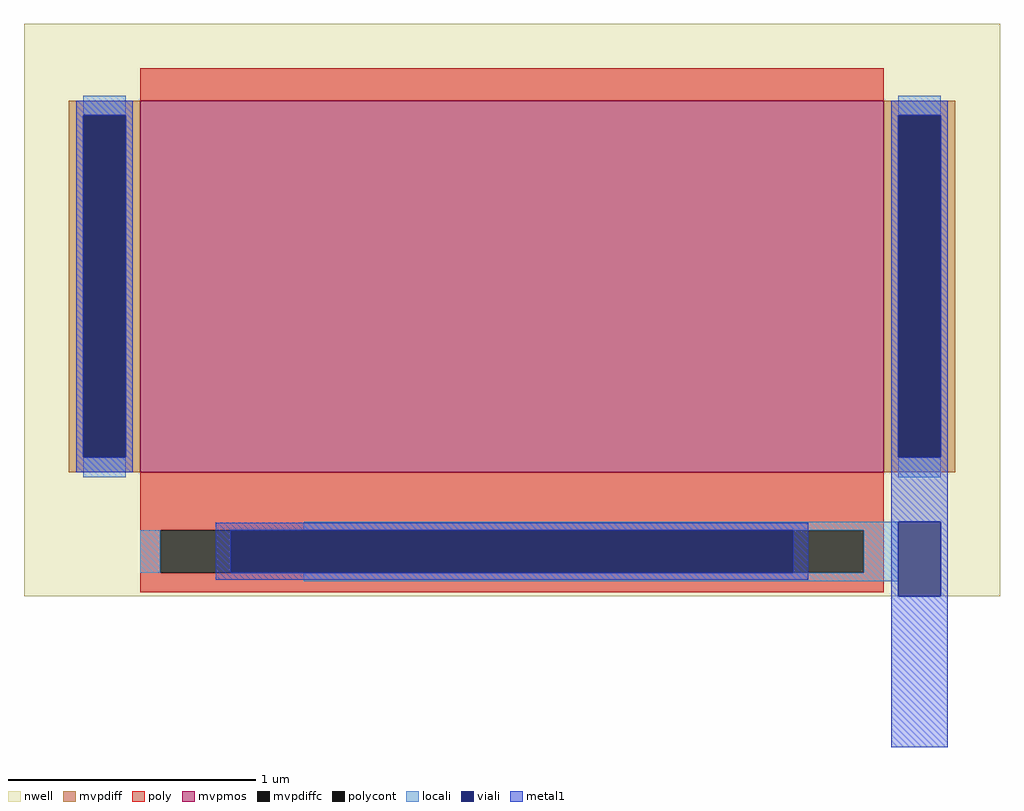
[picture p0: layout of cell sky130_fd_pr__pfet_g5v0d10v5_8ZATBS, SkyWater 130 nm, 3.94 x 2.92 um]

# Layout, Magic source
magic
tech sky130A
magscale 1 2
<< nwell >>
rect -394 -214 394 248
<< mvpmos >>
rect -300 -114 300 186
<< mvpdiff >>
rect -358 174 -300 186
rect -358 -102 -346 174
rect -312 -102 -300 174
rect -358 -114 -300 -102
rect 300 174 358 186
rect 300 -102 312 174
rect 346 -102 358 174
rect 300 -114 358 -102
<< mvpdiffc >>
rect -346 -102 -312 174
rect 312 -102 346 174
<< poly >>
rect -300 186 300 212
rect -300 -161 300 -114
rect -300 -195 -284 -161
rect 284 -195 300 -161
rect -300 -211 300 -195
<< polycont >>
rect -284 -195 284 -161
<< locali >>
rect -346 174 -312 190
rect -346 -118 -312 -102
rect 312 174 346 190
rect 312 -118 346 -102
rect -168 -161 312 -154
rect -300 -195 -284 -161
rect 284 -195 312 -161
rect -168 -202 312 -195
<< viali >>
rect -346 -102 -312 174
rect 312 -102 346 174
rect -227 -195 227 -161
rect 312 -214 346 -154
<< metal1 >>
rect -352 174 -306 186
rect -352 -102 -346 174
rect -312 -102 -306 174
rect -352 -114 -306 -102
rect 306 174 352 186
rect 306 -102 312 174
rect 346 -102 352 174
rect 306 -154 352 -102
rect -239 -161 239 -155
rect -239 -195 -227 -161
rect 227 -195 239 -161
rect -239 -201 239 -195
rect 306 -214 312 -154
rect 346 -214 352 -154
rect 306 -336 352 -214
<< properties >>
string gencell sky130_fd_pr__pfet_g5v0d10v5
string library sky130
string parameters w 1.5 l 3 m 1 nf 1 diffcov 100 polycov 100 guard 0 glc 1 grc 1 gtc 1 gbc 1 tbcov 100 rlcov 80 topc 0 botc 1 poverlap 0 doverlap 1 lmin 0.50 wmin 0.42 class mosfet compatible {sky130_fd_pr__pfet_01v8  sky130_fd_pr__pfet_01v8_lvt sky130_fd_pr__pfet_01v8_hvt  sky130_fd_pr__pfet_g5v0d10v5} full_metal 1 viasrc 100 viadrn 100 viagate 80 viagb 0 viagr 0 viagl 0 viagt 0
<< end >>
